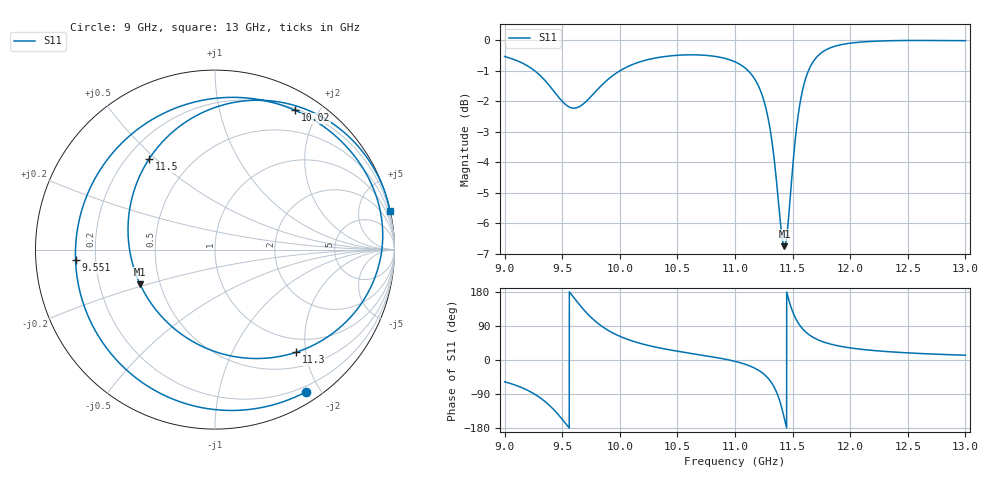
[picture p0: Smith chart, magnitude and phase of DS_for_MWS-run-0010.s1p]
! TOUCHSTONE file generated by CST DESIGN STUDIO
! Date and time: Tue Feb  4 13:04:50 2025
! Project name: C:\Work\MatlabApps\UnitCellOptimizationMatlab\CST\unitcell.cst
! Tree item: Tasks\Sweep1\SPara1\S-Parameters
! Header version: 2024
! Port assignment regex: !\s*Touchstone port\s*([0-9]+)\s*=\s*(CST MWS port|CST DES external port|CST DES block port)\s*(.+)\s* \(\"(.*)\"\)(\s*mode\s*([0-9]+))?.*
! Touchstone port assignment:
! Touchstone port 1 = CST DES external port 1 ("")
# GHz S MA R 50
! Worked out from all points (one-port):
!   4001 points, 9 GHz to 13 GHz, reference 50 ohm
!   lowest |S11| = -6.7 dB at 11.43 GHz (marker M1), VSWR 2.70, Z = 19.3 - j9.49 ohm
!   |S11| at or under -10 dB: nowhere
!   S11 on the Smith chart (normalised r, x): 9 GHz: 0.13, -1.81; 9.551 GHz: 0.12, -0.04; 10.02 GHz: 0.22, +1.71; 11.3 GHz: 0.75, -1.82; 11.5 GHz: 0.29, +0.47; 13 GHz: 0.07, +9.07
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9  0.9407 -57.5
9.161  0.9161 -74.5
9.311  0.8745 -100.3
9.407  0.8345 -125.0
9.5  0.7942 -156.2
9.551  0.7793 -175.7
9.636  0.7764 151.1
9.752  0.8096 112.1
9.856  0.8486 86.5
10  0.891 62.6
10.019  0.8953 60.1
10.224  0.9275 40.1
10.5  0.9449 23.2
11  0.9218 -3.6
11.183  0.8564 -23.4
11.297  0.7291 -51.6
11.369  0.5647 -91.1
11.429  0.4599 -155.0
11.463  0.5061 162.9
11.5  0.6172 127.8
11.502  0.6235 126.3
11.537  0.7256 103.7
11.576  0.8106 86.1
11.696  0.9321 56.8
11.82  0.9706 42.7
12  0.989 32.0
12.5  0.9991 18.8
13  0.9984 12.6
